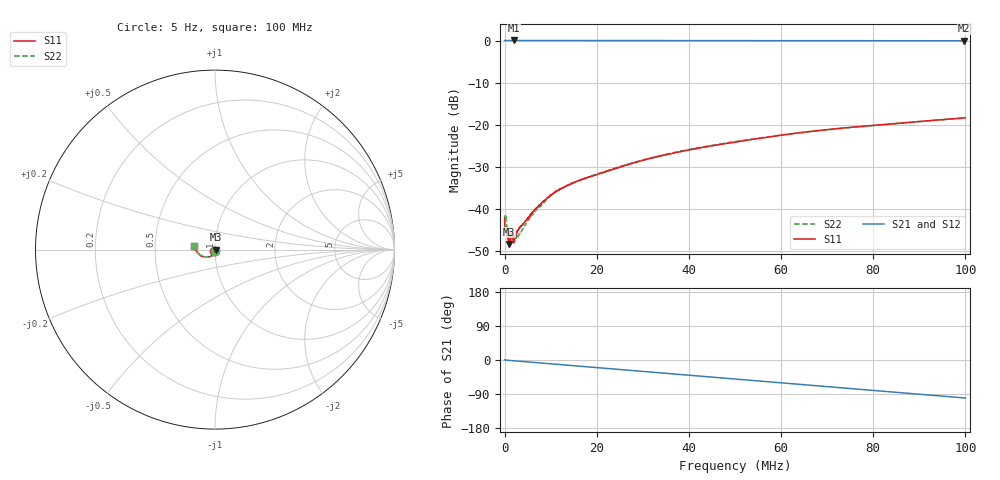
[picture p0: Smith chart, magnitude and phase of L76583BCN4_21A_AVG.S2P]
!Agilent Technologies,E5061B,MY49102235,A.02.00
!Date: Tue Jul 11 17:11:07 2023
!Data & Calibration Information:
!Freq	S11:SOLT2(ON)	S21:SOLT2(ON)	S12:SOLT2(ON)	S22:SOLT2(ON)
# Hz S RI R 50
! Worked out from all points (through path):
!   1600 points, 5 Hz to 100 MHz, reference 50 ohm
!   highest |S21| = 0.02 dB at 1.939 MHz (marker M1); lowest = -0.1 dB at 99.75 MHz (marker M2)
!   group delay of S21, straight-line fit = 2.79 ns
!   lowest |S11| = -48.4 dB at 1.001 MHz (marker M3), VSWR 1.01, Z = 50.4 - j0.0847 ohm
!   |S11| at or under -10 dB: start of sweep to end of sweep
!   |S22| runs from -48.9 to -18.4 dB; largest |S21 - S12| = 0.0029
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5  -0.0052 -0.00565  1.002 0.00791  1.001 0.0103  -0.00142 -0.00756
187622.3  0.00547 -0.00033  1 -0.00229  1.001 -0.000783  0.00739 -0.00238
625395.8  0.00512 -0.000684  1.002 -0.0105  1.002 -0.00999  0.00611 -0.00102
1000630  0.00371 -0.000841  1.001 -0.0167  1.001 -0.0157  0.00509 -0.00177
1563482  0.00429 -0.00299  1.001 -0.0265  1 -0.0251  0.00309 -0.00359
1938717  0.00306 -0.00245  1.002 -0.0337  1.001 -0.0327  0.00335 -0.00219
2376490  0.00324 -0.00313  1 -0.0415  1 -0.0413  0.00389 -0.00282
3064420  0.00409 -0.00388  1 -0.0535  0.9989 -0.053  0.00298 -0.00374
6003757  0.00322 -0.00823  0.9956 -0.105  0.9954 -0.1043  0.00277 -0.00804
9505946  0.00132 -0.0136  0.9873 -0.1661  0.9872 -0.1654  0.000704 -0.0136
1.163227e7  -0.000243 -0.0166  0.9805 -0.2026  0.9801 -0.2019  -0.00118 -0.0166
1.669794e7  -0.00421 -0.0218  0.9581 -0.2886  0.9579 -0.288  -0.0046 -0.0218
2.582865e7  -0.0119 -0.0299  0.9001 -0.4375  0.8997 -0.437  -0.00983 -0.0311
3.333334e7  -0.0211 -0.0361  0.8344 -0.5516  0.8342 -0.5509  -0.0197 -0.0372
4.033771e7  -0.0309 -0.0399  0.7602 -0.6492  0.7602 -0.6485  -0.0304 -0.041
5.003127e7  -0.0458 -0.0417  0.6392 -0.7682  0.6392 -0.7675  -0.0459 -0.0426
6.672921e7  -0.0759 -0.035  0.3897 -0.9183  0.3902 -0.918  -0.0751 -0.035
7.53596e7  -0.0898 -0.025  0.247 -0.9655  0.2474 -0.9651  -0.089 -0.0258
8.33646e7  -0.1008 -0.012  0.1098 -0.9899  0.11 -0.9897  -0.1001 -0.014
9.155722e7  -0.1108 0.00353  -0.033 -0.9943  -0.0326 -0.9941  -0.1104 0.000323
9.974984e7  -0.1184 0.0209  -0.1745 -0.9781  -0.1739 -0.9782  -0.118 0.018
1e8  -0.1186 0.0214  -0.1788 -0.9775  -0.1783 -0.9774  -0.1184 0.0187
